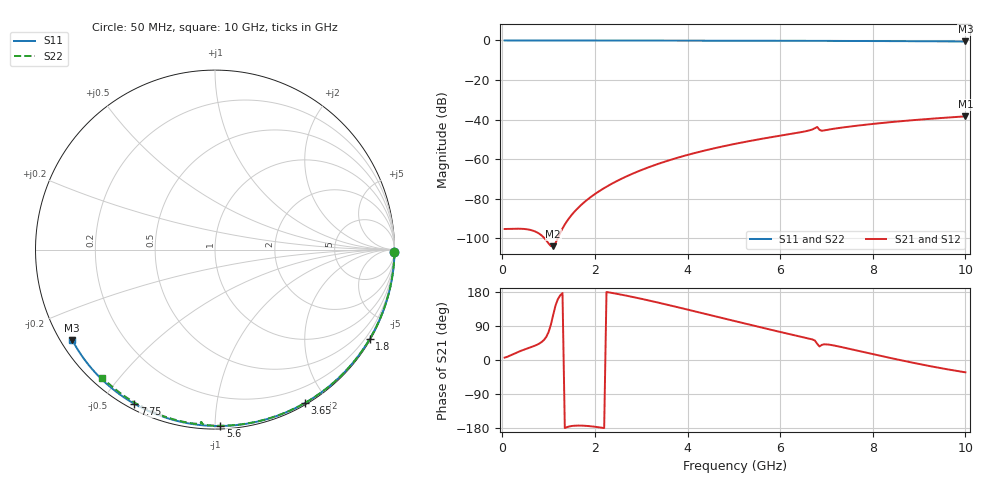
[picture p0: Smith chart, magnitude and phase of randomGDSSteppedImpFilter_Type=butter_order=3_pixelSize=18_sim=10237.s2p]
! freq	dB(S11)	phase(S11)	dB(S12)	phase(S12)
!  dB(S21)	phase(S21)	dB(S22)	phase(S22)
!S-par simulation data
#  GHz  S  DB  R 50
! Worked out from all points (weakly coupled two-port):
!   200 points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, 50 MHz to 10 GHz, reference 50 ohm
!   highest |S21| = -38.33 dB at 10 GHz (marker M1); lowest = -103.9 dB at 1.1 GHz (marker M2)
!   lowest |S11| = -0.5 dB at 10 GHz (marker M3), VSWR 33.21, Z = 1.63 - j14.5 ohm
!   |S11| at or under -10 dB: nowhere
!   |S22| runs from -0.4 to 0.0 dB; largest |S21 - S12| = 0
!   S11 on the Smith chart (normalised r, x): 50 MHz: open; 1.8 GHz: 0.03, -3.71; 3.65 GHz: 0.02, -1.75; 5.6 GHz: 0.02, -1.03; 7.75 GHz: 0.02, -0.60; 10 GHz: 0.03, -0.29
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0.05  -0.00 -0.8  -95.22 6.3  -95.22 6.3  -0.00 -0.8
1.1  -0.02 -18.6  -103.90 119.5  -103.90 119.5  -0.02 -16.6
1.75  -0.04 -29.3  -82.09 -173.4  -82.09 -173.4  -0.03 -26.2
1.8  -0.04 -30.1  -81.10 -173.7  -81.10 -173.7  -0.03 -26.9
1.85  -0.04 -31.0  -80.16 -174.2  -80.16 -174.2  -0.04 -27.7
2.2  -0.05 -36.7  -74.56 -179.5  -74.56 -179.5  -0.04 -32.8
2.6  -0.06 -43.1  -69.55 171.7  -69.55 171.7  -0.05 -38.5
3  -0.06 -49.4  -65.48 161.5  -65.48 161.5  -0.06 -44.3
3.4  -0.07 -55.7  -62.05 150.5  -62.05 150.5  -0.07 -49.9
3.65  -0.08 -59.6  -60.18 143.3  -60.18 143.3  -0.07 -53.4
4.3  -0.10 -69.4  -56.00 124.2  -56.00 124.2  -0.09 -62.2
5.05  -0.12 -80.4  -52.10 101.9  -52.10 101.9  -0.11 -72.2
5.6  -0.15 -88.3  -49.68 85.7  -49.68 85.7  -0.13 -79.3
6.45  -0.19 -100.1  -46.31 61.2  -46.31 61.2  -0.17 -90.1
6.7  -0.20 -103.5  -44.91 54.1  -44.91 54.1  -0.20 -93.4
6.8  -0.21 -104.9  -43.71 42.7  -43.71 42.7  -0.33 -94.6
6.85  -0.21 -105.6  -45.14 35.7  -45.14 35.7  -0.30 -94.4
6.9  -0.21 -106.2  -45.63 39.9  -45.63 39.9  -0.23 -95.0
7.75  -0.27 -117.7  -42.80 22.5  -42.80 22.5  -0.24 -105.6
8.35  -0.32 -125.6  -41.33 6.1  -41.33 6.1  -0.29 -112.6
9.2  -0.41 -136.9  -39.64 -15.3  -39.64 -15.3  -0.36 -122.3
10  -0.52 -147.7  -38.33 -32.5  -38.33 -32.5  -0.45 -131.4
